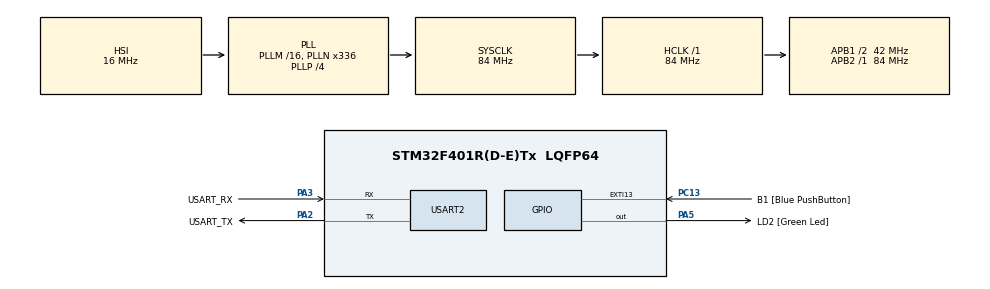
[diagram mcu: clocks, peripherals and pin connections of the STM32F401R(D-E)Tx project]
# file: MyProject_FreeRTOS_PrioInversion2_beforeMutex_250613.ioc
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FREERTOS.Tasks01=defaultTask,24,128,StartDefaultTask,Default,NULL,Dynamic,NULL,NULL
Mcu.Family=STM32F4
Mcu.Name=STM32F401R(D-E)Tx
Mcu.Package=LQFP64
NVIC.PriorityGroup=NVIC_PRIORITYGROUP_4
PA13.GPIO_Label=TMS
PA13.Mode=Trace_Asynchronous_SW
PA13.Signal=SYS_JTMS-SWDIO
PA14.GPIO_Label=TCK
PA14.Mode=Trace_Asynchronous_SW
PA14.Signal=SYS_JTCK-SWCLK
PA2.GPIO_Label=USART_TX
PA2.GPIO_Mode=GPIO_MODE_AF_PP
PA2.GPIO_PuPd=GPIO_NOPULL
PA2.GPIO_Speed=GPIO_SPEED_FREQ_LOW
PA2.Mode=Asynchronous
PA2.Signal=USART2_TX
PA3.GPIO_Label=USART_RX
PA3.GPIO_Mode=GPIO_MODE_AF_PP
PA3.GPIO_PuPd=GPIO_NOPULL
PA3.GPIO_Speed=GPIO_SPEED_FREQ_LOW
PA3.Mode=Asynchronous
PA3.Signal=USART2_RX
PA5.GPIO_Label=LD2 [Green Led]
PA5.GPIO_Mode=GPIO_MODE_OUTPUT_PP
PA5.GPIO_PuPd=GPIO_NOPULL
PA5.GPIO_Speed=GPIO_SPEED_FREQ_LOW
PA5.Signal=GPIO_Output
PB3.GPIO_Label=SWO
PB3.Mode=Trace_Asynchronous_SW
PB3.Signal=SYS_JTDO-SWO
PC13-ANTI_TAMP.GPIO_Label=B1 [Blue PushButton]
PC13-ANTI_TAMP.GPIO_ModeDefaultEXTI=GPIO_MODE_IT_FALLING
PC13-ANTI_TAMP.GPIO_PuPd=GPIO_NOPULL
PC13-ANTI_TAMP.Signal=GPXTI13
PC14-OSC32_IN.Mode=LSE-External-Oscillator
PC14-OSC32_IN.Signal=RCC_OSC32_IN
PC15-OSC32_OUT.Mode=LSE-External-Oscillator
PC15-OSC32_OUT.Signal=RCC_OSC32_OUT
PH0\ -\ OSC_IN.Mode=HSE-External-Clock-Source
PH0\ -\ OSC_IN.Signal=RCC_OSC_IN
PH1\ -\ OSC_OUT.Mode=HSE-External-Clock-Source
PH1\ -\ OSC_OUT.Signal=RCC_OSC_OUT
ProjectManager.HeapSize=0x200
ProjectManager.StackSize=0x400
ProjectManager.TargetToolchain=STM32CubeIDE
RCC.48MHZClocksFreq_Value=48000000
RCC.AHBFreq_Value=84000000
RCC.APB1CLKDivider=RCC_HCLK_DIV2
RCC.APB1Freq_Value=42000000
RCC.APB1TimFreq_Value=84000000
RCC.APB2Freq_Value=84000000
RCC.APB2TimFreq_Value=84000000
RCC.CortexFreq_Value=84000000
RCC.HCLKFreq_Value=84000000
RCC.HSE_VALUE=8000000
RCC.HSI_VALUE=16000000
RCC.PLLN=336
RCC.PLLP=RCC_PLLP_DIV4
RCC.PLLQ=7
RCC.SYSCLKFreq_VALUE=84000000
RCC.SYSCLKSource=RCC_SYSCLKSOURCE_PLLCLK
RCC.VCOOutputFreq_Value=336000000
USART2.VirtualMode=VM_ASYNC
VP_FREERTOS_VS_CMSIS_V2.Mode=CMSIS_V2
board=NUCLEO-F401RE

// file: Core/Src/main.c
/* USER CODE BEGIN Header */

///////////////////////////////////////////////////////////// 우선순위 다른 3명의 직원이 mutex 없이 하나의 복사기를 쓰려는 상황 ////
///////////////////////////////////////////////////////////// 그래서 잘 출력될때도 있지만 시간이 지나면 이상하게 섞여서 혼제되어서 출력됨 ///////////////////

/**
  ******************************************************************************
  * @file           : main.c
  * @brief          : Main program body
  ******************************************************************************
  * @attention
  *
  * Copyright (c) 2025 STMicroelectronics.
  * All rights reserved.
  *
  * This software is licensed under terms that can be found in the LICENSE file
  * in the root directory of this software component.
  * If no LICENSE file comes with this software, it is provided AS-IS.
  *
  ******************************************************************************
  */
/* USER CODE END Header */
#include "main.h"
#include "cmsis_os.h"

/* USER CODE BEGIN Includes */
#include <stdio.h>
#include <string.h>
/* USER CODE END Includes */

UART_HandleTypeDef huart2;

/* Definitions for defaultTask */
osThreadId_t defaultTaskHandle;
const osThreadAttr_t defaultTask_attributes = {
  .name = "defaultTask",
  .stack_size = 128 * 4,
  .priority = (osPriority_t) osPriorityNormal,
};

void SystemClock_Config(void);
static void MX_GPIO_Init(void);
static void MX_USART2_UART_Init(void);
void StartDefaultTask(void *argument);

/* USER CODE BEGIN 0 */

// 높은 우선순위 작업
void HighPrioTask(void *argument)
{
  char *msg = "## HIGH PRIORITY TASK ##\r\n";
  for(;;)
  {
    for (int i = 0; i < strlen(msg); i++)
    {
      HAL_UART_Transmit(&huart2, (uint8_t *)&msg[i], 1, 100);
      osDelay(5);
    }
    osDelay(1000);
  }
}

// 중간 우선순위 작업
void MediumPrioTask(void *argument)
{
  char *msg = "== MEDIUM PRIORITY TASK ==\r\n";
  for(;;)
  {
	for (int i = 0; i < strlen(msg); i++)
	{
	  HAL_UART_Transmit(&huart2, (uint8_t *)&msg[i], 1, 100);
	  osDelay(5);
	}
    osDelay(1000);
  }
}

// 낮은 우선순위 작업
void LowPrioTask(void *argument)
{
  char *msg = "--- low priority task ---\r\n";
  for(;;)
  {
    for (int i = 0; i < strlen(msg); i++)
    {
      HAL_UART_Transmit(&huart2, (uint8_t *)&msg[i], 1, 100);
      osDelay(5);
    }
    osDelay(1000);
  }
}

/* USER CODE END 0 */

int main(void)
{

  /* MCU Configuration--------------------------------------------------------*/

  /* Reset of all peripherals, Initializes the Flash interface and the Systick. */
  HAL_Init();

  /* Configure the system clock */
  SystemClock_Config();

  /* Initialize all configured peripherals */
  MX_GPIO_Init();
  MX_USART2_UART_Init();

  /* Init scheduler */
  osKernelInitialize();

  /* USER CODE BEGIN RTOS_MUTEX */
  /* 뮤텍스를 사용하지 않는 문제 상황입니다. */
  /* USER CODE END RTOS_MUTEX */

  /* Create the thread(s) */
  /* creation of defaultTask */
  defaultTaskHandle = osThreadNew(StartDefaultTask, NULL, &defaultTask_attributes);

  /* USER CODE BEGIN RTOS_THREADS */
  // LowPrioTask 생성 (우선순위: 낮음)
  const osThreadAttr_t lowPrioTask_attributes = {
    .name = "LowPrioTask",
    .stack_size = 256 * 4,
    .priority = (osPriority_t) osPriorityLow,
  };
  osThreadNew(LowPrioTask, NULL, &lowPrioTask_attributes);

  // MediumPrioTask 생성 (우선순위: 중간)
  const osThreadAttr_t mediumPrioTask_attributes = {
    .name = "MediumPrioTask",
    .stack_size = 256 * 4,
    .priority = (osPriority_t) osPriorityNormal,
  };
  osThreadNew(MediumPrioTask, NULL, &mediumPrioTask_attributes);

  // HighPrioTask 생성 (우선순위: 높음)
  const osThreadAttr_t highPrioTask_attributes = {
    .name = "HighPrioTask",
    .stack_size = 256 * 4,
    .priority = (osPriority_t) osPriorityHigh,
  };
  osThreadNew(HighPrioTask, NULL, &highPrioTask_attributes);
  /* USER CODE END RTOS_THREADS */

  /* Start scheduler */
  osKernelStart();

  /* We should never get here as control is now taken by the scheduler */

  /* Infinite loop */
  while (1)
  {

  }
}

void SystemClock_Config(void)
{
  RCC_OscInitTypeDef RCC_OscInitStruct = {0};
  RCC_ClkInitTypeDef RCC_ClkInitStruct = {0};

  /** Configure the main internal regulator output voltage
  */
  __HAL_RCC_PWR_CLK_ENABLE();
  __HAL_PWR_VOLTAGESCALING_CONFIG(PWR_REGULATOR_VOLTAGE_SCALE2);

  /** Initializes the RCC Oscillators according to the specified parameters
  * in the RCC_OscInitTypeDef structure.
  */
  RCC_OscInitStruct.OscillatorType = RCC_OSCILLATORTYPE_HSI;
  RCC_OscInitStruct.HSIState = RCC_HSI_ON;
  RCC_OscInitStruct.HSICalibrationValue = RCC_HSICALIBRATION_DEFAULT;
  RCC_OscInitStruct.PLL.PLLState = RCC_PLL_ON;
  RCC_OscInitStruct.PLL.PLLSource = RCC_PLLSOURCE_HSI;
  RCC_OscInitStruct.PLL.PLLM = 16;
  RCC_OscInitStruct.PLL.PLLN = 336;
  RCC_OscInitStruct.PLL.PLLP = RCC_PLLP_DIV4;
  RCC_OscInitStruct.PLL.PLLQ = 7;
  if (HAL_RCC_OscConfig(&RCC_OscInitStruct) != HAL_OK)
  {
    Error_Handler();
  }

  /** Initializes the CPU, AHB and APB buses clocks
  */
  RCC_ClkInitStruct.ClockType = RCC_CLOCKTYPE_HCLK|RCC_CLOCKTYPE_SYSCLK
                              |RCC_CLOCKTYPE_PCLK1|RCC_CLOCKTYPE_PCLK2;
  RCC_ClkInitStruct.SYSCLKSource = RCC_SYSCLKSOURCE_PLLCLK;
  RCC_ClkInitStruct.AHBCLKDivider = RCC_SYSCLK_DIV1;
  RCC_ClkInitStruct.APB1CLKDivider = RCC_HCLK_DIV2;
  RCC_ClkInitStruct.APB2CLKDivider = RCC_HCLK_DIV1;

  if (HAL_RCC_ClockConfig(&RCC_ClkInitStruct, FLASH_LATENCY_2) != HAL_OK)
  {
    Error_Handler();
  }
}

static void MX_USART2_UART_Init(void)
{

  huart2.Instance = USART2;
  huart2.Init.BaudRate = 115200;
  huart2.Init.WordLength = UART_WORDLENGTH_8B;
  huart2.Init.StopBits = UART_STOPBITS_1;
  huart2.Init.Parity = UART_PARITY_NONE;
  huart2.Init.Mode = UART_MODE_TX_RX;
  huart2.Init.HwFlowCtl = UART_HWCONTROL_NONE;
  huart2.Init.OverSampling = UART_OVERSAMPLING_16;
  if (HAL_UART_Init(&huart2) != HAL_OK)
  {
    Error_Handler();
  }

}

static void MX_GPIO_Init(void)
{
  GPIO_InitTypeDef GPIO_InitStruct = {0};

  /* GPIO Ports Clock Enable */
  __HAL_RCC_GPIOC_CLK_ENABLE();
  __HAL_RCC_GPIOH_CLK_ENABLE();
  __HAL_RCC_GPIOA_CLK_ENABLE();
  __HAL_RCC_GPIOB_CLK_ENABLE();

  /*Configure GPIO pin Output Level */
  HAL_GPIO_WritePin(LD2_GPIO_Port, LD2_Pin, GPIO_PIN_RESET);

  /*Configure GPIO pin : B1_Pin */
  GPIO_InitStruct.Pin = B1_Pin;
  GPIO_InitStruct.Mode = GPIO_MODE_IT_FALLING;
  GPIO_InitStruct.Pull = GPIO_NOPULL;
  HAL_GPIO_Init(B1_GPIO_Port, &GPIO_InitStruct);

  /*Configure GPIO pin : LD2_Pin */
  GPIO_InitStruct.Pin = LD2_Pin;
  GPIO_InitStruct.Mode = GPIO_MODE_OUTPUT_PP;
  GPIO_InitStruct.Pull = GPIO_NOPULL;
  GPIO_InitStruct.Speed = GPIO_SPEED_FREQ_LOW;
  HAL_GPIO_Init(LD2_GPIO_Port, &GPIO_InitStruct);

}

void StartDefaultTask(void *argument)
{
  for(;;)
  {
    osDelay(1);
  }
}

void Error_Handler(void)
{
  __disable_irq();
  while (1)
  {
  }
}
